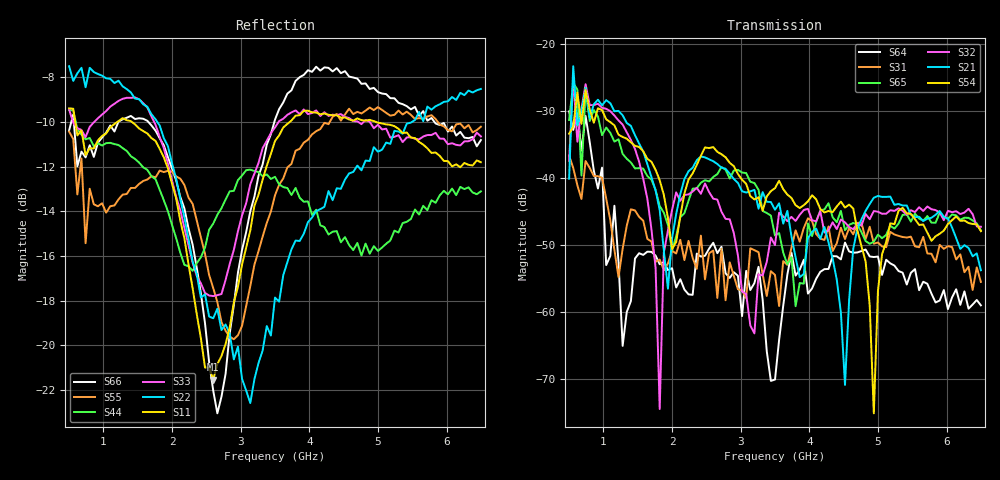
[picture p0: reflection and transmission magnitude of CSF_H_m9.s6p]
!Keysight Technologies,M9804A,MY58100912,A.14.10.03
!Date: Thursday, April 27, 2023 10:28:33
!Correction: S11(C  6-Port  )
!S12(C  6-Port  )
!S13(C  6-Port  )
!S14(C  6-Port  )
!S15(C  6-Port  )
!S16(C  6-Port  )
!S21(C  6-Port  )
!S22(C  6-Port  )
!S23(C  6-Port  )
!S24(C  6-Port  )
!S25(C  6-Port  )
!S26(C  6-Port  )
!S31(C  6-Port  )
!S32(C  6-Port  )
!S33(C  6-Port  )
!S34(C  6-Port  )
!S35(C  6-Port  )
!S36(C  6-Port  )
!S41(C  6-Port  )
!S42(C  6-Port  )
!S43(C  6-Port  )
!S44(C  6-Port  )
!S45(C  6-Port  )
!S46(C  6-Port  )
!S51(C  6-Port  )
!S52(C  6-Port  )
!S53(C  6-Port  )
!S54(C  6-Port  )
!S55(C  6-Port  )
!S56(C  6-Port  )
!S61(C  6-Port  )
!S62(C  6-Port  )
!S63(C  6-Port  )
!S64(C  6-Port  )
!S65(C  6-Port  )
!S66(C  6-Port  )
!S6P File: Measurement: :
# Hz S  RI  R 50
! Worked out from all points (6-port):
!   101 points, 500 MHz to 6.5 GHz, reference 50 ohm
!   strongest paths, dB at 500 MHz, 2 GHz, 3.5 GHz, 5 GHz, 6.5 GHz:
!     S54: -33.4, -50.6, -41.6, -56.9, -48.0
!     S21: -40.1, -49.0, -44.8, -42.7, -53.8
!     S32: -37.5, -44.8, -50.0, -45.1, -47.3
!     S65: -31.4, -50.9, -48.6, -48.5, -47.8
!     S31: -36.7, -50.9, -54.5, -49.7, -55.5
!     S64: -30.1, -53.5, -70.1, -51.8, -59.0
!   lowest |S11| = -21.5 dB at 2.6 GHz (marker M1), VSWR 1.18, Z = 42.6 + j2.17 ohm
!   |S11| at or under -10 dB: 589.9 MHz to 1.2 GHz (610 MHz wide, 68.2 % of centre); 1.417 GHz to 3.713 GHz (2.296 GHz wide, 89.5 % of centre); 4.975 GHz to end of sweep
